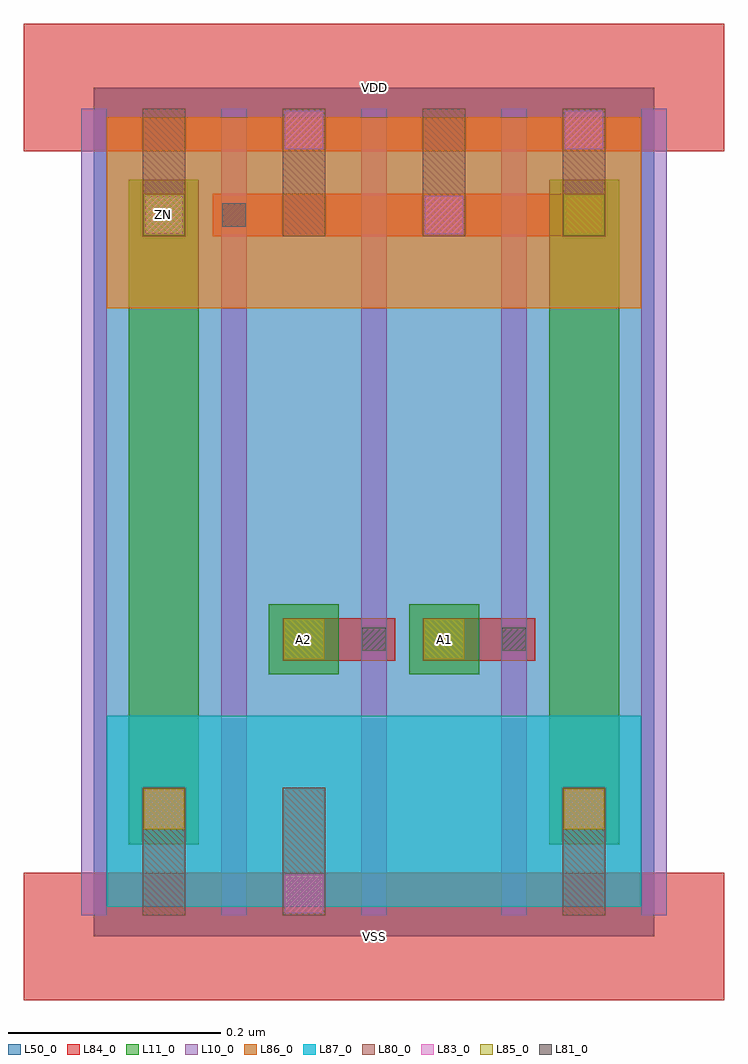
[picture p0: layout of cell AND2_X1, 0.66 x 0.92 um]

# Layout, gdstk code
import gdstk
lib = gdstk.Library(unit=1e-6, precision=1e-09)
def R(c, l, rs):  # rectangles x0, y0, x1, y1
    for r in rs: c.add(gdstk.rectangle(r[:2], r[2:], *l))
def A(c, l, x, y, w, h, nx, ny, dx, dy):  # array of equal rectangles
    R(c, l, [(x+i*dx, y+j*dy, x+i*dx+w, y+j*dy+h) for i in range(nx) for j in range(ny)])
L10_0 = (10, 0)
L11_0 = (11, 0)
L50_0 = (50, 0)
L80_0 = (80, 0)
L81_0 = (81, 0)
L83_0 = (83, 0)
L84_0 = (84, 0)
L85_0 = (85, 0)
L86_0 = (86, 0)
L87_0 = (87, 0)

and2_x1 = lib.new_cell('AND2_X1')
A(and2_x1, L10_0, -0.012, 0.02, 0.024, 0.76, 5, 1, 0.132, 0)
R(and2_x1, L11_0, [(0.033,0.087,0.099,0.713), (0.429,0.087,0.495,0.713), (0.165,0.247,0.231,0.313), (0.297,0.247,0.363,0.313)])
R(and2_x1, L50_0, [(0,0,0.528,0.8)])
A(and2_x1, L80_0, 0.046, 0.66, 0.04, 0.12, 4, 1, 0.132, 0)
R(and2_x1, L80_0, [(0.046,0.02,0.086,0.14), (0.178,0.02,0.218,0.14), (0.442,0.02,0.482,0.14)])
R(and2_x1, L81_0, [(0.253,0.269,0.275,0.291), (0.385,0.269,0.407,0.291), (0.121,0.669,0.143,0.691)])
R(and2_x1, L83_0, [(0.18,0.022,0.216,0.058), (0.048,0.102,0.084,0.138), (0.444,0.102,0.48,0.138), (0.048,0.662,0.084,0.698), (0.312,0.662,0.348,0.698), (0.18,0.742,0.216,0.778), (0.444,0.742,0.48,0.778)])
R(and2_x1, L84_0, [(-0.066,-0.06,0.594,0.06), (0.046,0.1,0.086,0.14), (0.442,0.1,0.482,0.14), (0.178,0.26,0.284,0.3), (0.31,0.26,0.416,0.3), (0.046,0.66,0.086,0.7), (0.112,0.66,0.482,0.7), (-0.066,0.74,0.594,0.86)])
R(and2_x1, L85_0, [(0.047,0.101,0.085,0.139), (0.443,0.101,0.481,0.139), (0.179,0.261,0.217,0.299), (0.311,0.261,0.349,0.299), (0.047,0.661,0.085,0.699), (0.443,0.661,0.481,0.699)])
R(and2_x1, L86_0, [(0.012,0.592,0.516,0.772)])
R(and2_x1, L87_0, [(0.012,0.028,0.516,0.208)])
and2_x1.add(gdstk.Label('VDD', (0.264,0.8), layer=88, texttype=0))
and2_x1.add(gdstk.Label('VSS', (0.264,0), layer=88, texttype=0))
and2_x1.add(gdstk.Label('ZN', (0.066,0.68), layer=31, texttype=0))
and2_x1.add(gdstk.Label('A2', (0.198,0.28), layer=31, texttype=0))
and2_x1.add(gdstk.Label('A1', (0.33,0.28), layer=31, texttype=0))

lib.write_gds('AND2_X1.gds')
